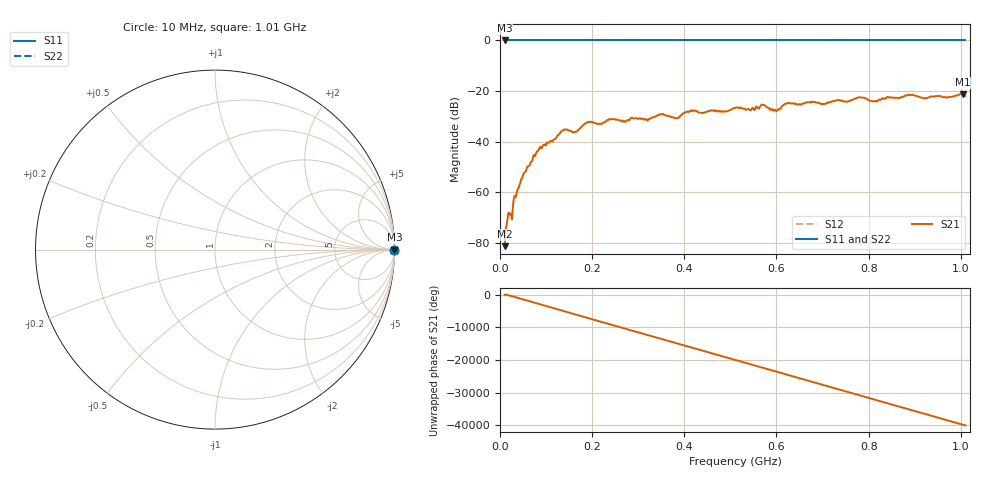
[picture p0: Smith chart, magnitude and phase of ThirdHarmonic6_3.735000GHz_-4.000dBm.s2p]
! 8/17/2025 12:46:19 PM
! C:\ANRITSUVNA\TEMP\TEMP.S2P
! CHANNEL.1
! TR.MEASUREMENT
! RAW.DATA
! RF.CORRECTION.OFF
! AVERAGING.OFF
! IF.BANDWIDTH: 5KHZ
! SWEEPTYPE:  FREQ.SWEEP(Linear)
! Reference Plane Port Info
! PORT:  PORT1  PORT2
! DISTANCE:  0  m  0  m
! TIME:  0  s  0  s
! PHASE.OFFSET:  0  deg.  0  deg.
! LOSS:  0  dB  0  dB
! REF.LOSS:  0  dB  0  dB
! REF.FREQ:  0  Hz  0  Hz
! Power Info
! POWER:  -20  dBm  -20  dBm
! EFF.POWER:  -20  dBm  -20  dBm
! SOURCE.ATTEN:  0  dB  0  dB
! TEST.ATTEN:  0  dB  0  dB
# GHZ S RI R 50.0
! FREQ.GHZ  S11RE  S11IM  S21RE  S21IM  S12RE  S12IM  S22RE  S22IM
!; PortSelection: Port_12
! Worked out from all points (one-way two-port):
!   501 points, 10 MHz to 1.01 GHz, reference 50 ohm
!   highest |S21| = -21.20 dB at 1.004 GHz (marker M1); lowest = -81.2 dB at 10 MHz (marker M2)
!   lowest |S11| = 0.0 dB at 10 MHz (marker M3)
!   |S11| at or under -10 dB: nowhere
!   |S22| runs from 0.0 to 0.0 dB; largest |S21 - S12| = 1.1
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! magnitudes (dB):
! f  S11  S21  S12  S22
! 10 MHz  0.0  -81.2  0.0  0.0
! 16 MHz  0.0  -70.6  0.0  0.0
! 26 MHz  0.0  -70.7  0.0  0.0
! 34 MHz  0.0  -61.9  0.0  0.0
! 50 MHz  0.0  -53.2  0.0  0.0
! 76 MHz  0.0  -45.6  0.0  0.0
! 136 MHz  0.0  -35.6  0.0  0.0
! 162 MHz  0.0  -36.2  0.0  0.0
! 178 MHz  0.0  -34.0  0.0  0.0
! 192 MHz  0.0  -32.2  0.0  0.0
! 318 MHz  0.0  -31.2  0.0  0.0
! 344 MHz  0.0  -29.5  0.0  0.0
! 384 MHz  0.0  -30.6  0.0  0.0
! 410 MHz  0.0  -28.3  0.0  0.0
! 510 MHz  0.0  -26.6  0.0  0.0
! 572 MHz  0.0  -25.5  0.0  0.0
! 598 MHz  0.0  -27.6  0.0  0.0
! 622 MHz  0.0  -24.9  0.0  0.0
! 678 MHz  0.0  -24.2  0.0  0.0
! 844 MHz  0.0  -22.5  0.0  0.0
! 1.004 GHz  0.0  -21.2  0.0  0.0
! 1.01 GHz  0.0  -21.8  0.0  0.0
